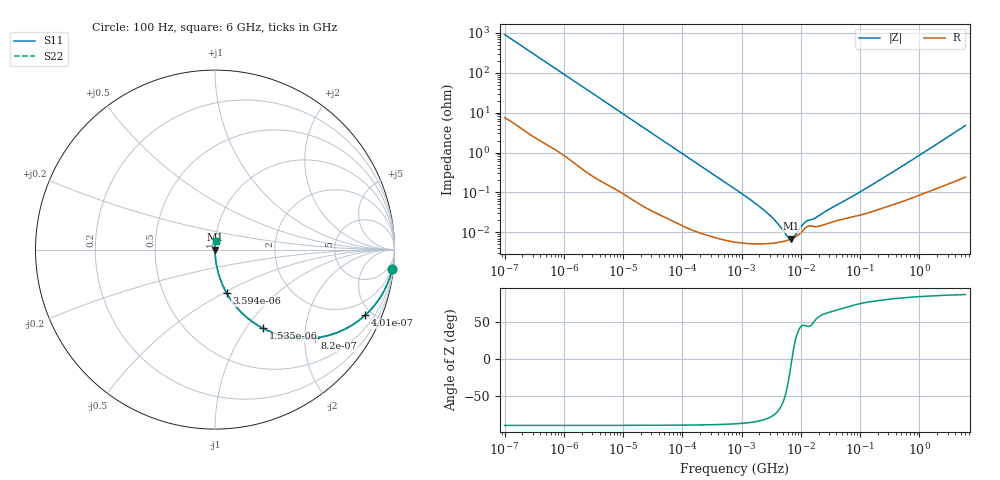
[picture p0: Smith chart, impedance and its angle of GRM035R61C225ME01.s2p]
!Murata Part Number: GRM035R61C225ME01
!These Parameters are Measured in Series Mode Connection
!Data Generated on Mar 30, 2021
!  o--ll--o
!Port1  Port2
!  o------o
!Operation Temp=25[degC], DC Bias Voltage=0[V]
!Freq. Start=100[Hz] Stop=6[GHz] 401[Steps]
# Hz S RI R 50
!Freq.(Hz) S11(Real) S11(Imag) S21(Real) S21(Imag) S12(Real) S12(Imag) S22(Real) S22(Imag)
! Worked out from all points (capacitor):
!   401 points, 100 Hz to 6 GHz, reference 50 ohm
!   read as one part in series: C = 1.75 uF near 109 Hz
!   lowest |Z| = 6.91 mohm at 6.949 MHz (marker M1)
!   series resonance near 7.067 MHz, so ESL is about 290 pH
!   S11 on the Smith chart (normalised r, x): 100 Hz: 1, -18; 401 Hz: 1.04, -4.57; 820 Hz: 1.02, -2.24; 1.535 kHz: 1.01, -1.20; 3.594 kHz: 1.00, -0.52; 6 GHz: 1.00, +0.09
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100  0.9872 -0.1085  0.0128 0.1085  0.0128 0.1085  0.9872 -0.1085
224  0.9417 -0.2302  0.0583 0.2302  0.0583 0.2302  0.9417 -0.2302
401  0.8374 -0.3648  0.1626 0.3648  0.1626 0.3648  0.8374 -0.3648
548  0.7353 -0.4368  0.2647 0.4368  0.2647 0.4368  0.7353 -0.4368
820  0.5568 -0.4922  0.4432 0.4922  0.4432 0.4922  0.5568 -0.4922
1122  0.4041 -0.4862  0.5959 0.4862  0.5959 0.4862  0.4041 -0.4862
1535  0.2678 -0.4384  0.7322 0.4384  0.7322 0.4384  0.2678 -0.4384
2008  0.1772 -0.3776  0.8228 0.3776  0.8228 0.3776  0.1772 -0.3776
3594  0.0642 -0.241  0.9358 0.241  0.9358 0.241  0.0642 -0.241
5882  0.0257 -0.1538  0.9743 0.1538  0.9743 0.1538  0.0257 -0.1538
10066  0.00942 -0.0917  0.9906 0.0917  0.9906 0.0917  0.00942 -0.0917
40335  0.000823 -0.0233  0.9992 0.0233  0.9992 0.0233  0.000823 -0.0233
774597  5.82e-05 -0.00122  0.9999 0.00122  0.9999 0.00122  5.82e-05 -0.00122
2594782  5.2e-05 -0.00032  0.9999 0.00032  0.9999 0.00032  5.2e-05 -0.00032
3549919  5.39e-05 -0.000202  0.9999 0.000202  0.9999 0.000202  5.39e-05 -0.000202
5311619  6.02e-05 -7.84e-05  0.9999 7.84e-05  0.9999 7.84e-05  6.02e-05 -7.84e-05
6948629  6.89e-05 -4.5e-06  0.9999 4.5e-06  0.9999 4.5e-06  6.89e-05 -4.5e-06
8692127  8.26e-05 5.6e-05  0.9999 -5.6e-05  0.9999 -5.6e-05  8.26e-05 5.6e-05
1.189169e7  0.000128 0.000129  0.9999 -0.000129  0.9999 -0.000129  0.000128 0.000129
1.555665e7  0.000143 0.000154  0.9999 -0.000154  0.9999 -0.000154  0.000143 0.000154
3.124326e8  0.000468 0.00283  0.9995 -0.00283  0.9995 -0.00283  0.000468 0.00283
6e9  0.00462 0.0471  0.9954 -0.0471  0.9954 -0.0471  0.00462 0.0471
